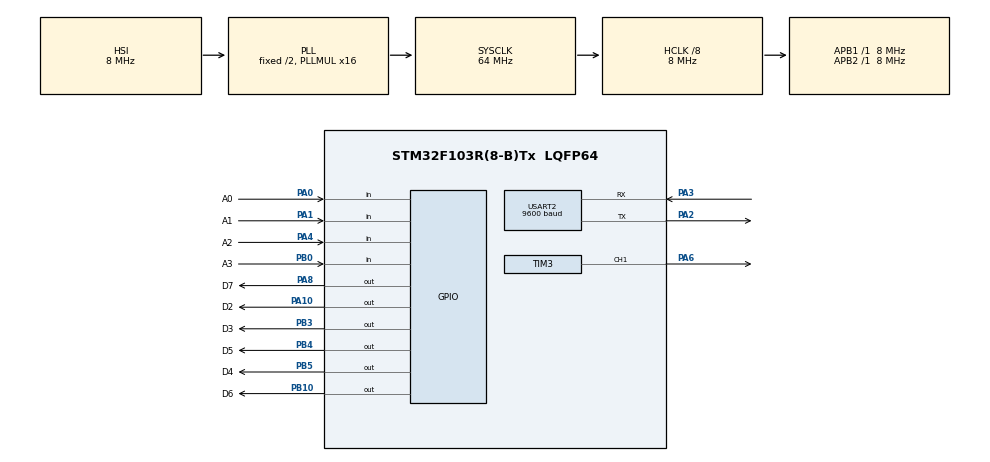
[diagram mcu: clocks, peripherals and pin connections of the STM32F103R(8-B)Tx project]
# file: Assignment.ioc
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Mcu.Family=STM32F1
Mcu.Name=STM32F103R(8-B)Tx
Mcu.Package=LQFP64
NVIC.PriorityGroup=NVIC_PRIORITYGROUP_4
NVIC.TIM1_UP_IRQn=true\:15\:0\:false\:false\:true\:false\:true
NVIC.TIM2_IRQn=true\:0\:0\:false\:false\:true\:true\:true
NVIC.TimeBase=TIM1_UP_IRQn
NVIC.TimeBaseIP=TIM1
PA0-WKUP.GPIO_Label=A0
PA0-WKUP.GPIO_PuPd=GPIO_PULLUP
PA0-WKUP.Signal=GPIO_Input
PA1.GPIO_Label=A1
PA1.GPIO_PuPd=GPIO_PULLUP
PA1.Signal=GPIO_Input
PA10.GPIO_Label=D2
PA10.Signal=GPIO_Output
PA13.Mode=Serial_Wire
PA13.Signal=SYS_JTMS-SWDIO
PA14.Mode=Serial_Wire
PA14.Signal=SYS_JTCK-SWCLK
PA2.Mode=Asynchronous
PA2.Signal=USART2_TX
PA3.Mode=Asynchronous
PA3.Signal=USART2_RX
PA4.GPIO_Label=A2
PA4.GPIO_PuPd=GPIO_PULLUP
PA4.Signal=GPIO_Input
PA6.Signal=S_TIM3_CH1
PA8.GPIO_Label=D7
PA8.Signal=GPIO_Output
PB0.GPIO_Label=A3
PB0.GPIO_PuPd=GPIO_PULLUP
PB0.Signal=GPIO_Input
PB10.GPIO_Label=D6
PB10.Signal=GPIO_Output
PB3.GPIO_Label=D3
PB3.Signal=GPIO_Output
PB4.GPIO_Label=D5
PB4.Signal=GPIO_Output
PB5.GPIO_Label=D4
PB5.Signal=GPIO_Output
ProjectManager.HeapSize=0x200
ProjectManager.StackSize=0x400
ProjectManager.TargetToolchain=STM32CubeIDE
RCC.AHBCLKDivider=RCC_SYSCLK_DIV8
RCC.AHBFreq_Value=8000000
RCC.APB1Freq_Value=8000000
RCC.APB1TimFreq_Value=8000000
RCC.APB2Freq_Value=8000000
RCC.APB2TimFreq_Value=8000000
RCC.HCLKFreq_Value=8000000
RCC.PLLMUL=RCC_PLL_MUL16
RCC.SYSCLKFreq_VALUE=64000000
RCC.SYSCLKSource=RCC_SYSCLKSOURCE_PLLCLK
RCC.USBFreq_Value=64000000
SH.S_TIM3_CH1.0=TIM3_CH1,PWM Generation1 CH1
TIM2.Period=9
TIM2.Prescaler=7999
TIM3.Channel-PWM\ Generation1\ CH1=TIM_CHANNEL_1
TIM3.Period=100
TIM3.Prescaler=119
USART2.BaudRate=9600
USART2.VirtualMode=VM_ASYNC
VP_SYS_VS_tim1.Mode=TIM1
VP_TIM2_VS_ClockSourceINT.Mode=Internal
VP_TIM3_VS_ClockSourceINT.Mode=Internal
board=custom

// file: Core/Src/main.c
/* USER CODE BEGIN Header */
/**
  ******************************************************************************
  * @file           : main.c
  * @brief          : Main program body
  ******************************************************************************
  * @attention
  *
  * <h2><center>&copy; Copyright (c) 2023 STMicroelectronics.
  * All rights reserved.</center></h2>
  *
  * This software component is licensed by ST under BSD 3-Clause license,
  * the "License"; You may not use this file except in compliance with the
  * License. You may obtain a copy of the License at:
  *                        opensource.org/licenses/BSD-3-Clause
  *
  ******************************************************************************
  */
/* USER CODE END Header */
#include "main.h"

/* USER CODE BEGIN Includes */
#include "global.h"
/* USER CODE END Includes */

TIM_HandleTypeDef htim2;
TIM_HandleTypeDef htim3;

UART_HandleTypeDef huart2;

void SystemClock_Config(void);
static void MX_GPIO_Init(void);
static void MX_TIM2_Init(void);
static void MX_TIM3_Init(void);
static void MX_USART2_UART_Init(void);

/* USER CODE BEGIN 0 */
void wrapper(void) {
  timerRun(0); // led duration
  timerRun(1); //  7-segment counter 1s
  timerRun(3); // blinking led
  timerRun(8);
  timerRun(9);
  getKeyInput(0);
  getKeyInput(1);
  getKeyInput(2);
  getKeyInput(3);
}
void HAL_TIM_PeriodElapsedCallback(TIM_HandleTypeDef *htim)
{
  /* USER CODE BEGIN Callback 0 */
//////
  /* USER CODE END Callback 0 */
  if (htim->Instance == TIM1) {
    HAL_IncTick();
  }
  if (htim->Instance == TIM2) {
    SCH_Update();
//    timerRun(0); // led duration
//    timerRun(1); //  7-segment counter 1s
//    timerRun(3); // blinking led
//    timerRun(9); // blinking led
//    getKeyInput(0);
//    getKeyInput(1);
//    getKeyInput(2);
//    getKeyInput(3);
  }
  /* USER CODE BEGIN Callback 1 */
//////
  /* USER CODE END Callback 1 */
}
/* USER CODE END 0 */

int main(void)
{

  /* MCU Configuration--------------------------------------------------------*/

  /* Reset of all peripherals, Initializes the Flash interface and the Systick. */
  HAL_Init();

  /* Configure the system clock */
  SystemClock_Config();

  /* Initialize all configured peripherals */
  MX_GPIO_Init();
  MX_TIM2_Init();
  MX_TIM3_Init();
  MX_USART2_UART_Init();
  /* USER CODE BEGIN 2 */
  HAL_TIM_Base_Start_IT(&htim2);
  SCH_Add_Task(wrapper, 0, 1);
  SCH_Add_Task(fsm_automatic_run, 0, 1);
  SCH_Add_Task(fsm_manual_run, 0, 1);
  /* USER CODE END 2 */

  /* Infinite loop */
  /* USER CODE BEGIN WHILE */
  status = INIT ;
  while (1)
  {
    /* USER CODE END WHILE */

    /* USER CODE BEGIN 3 */
//    fsm_automatic_run();
//    fsm_manual_run();
    SCH_Dispatch_Tasks();
  }
  /* USER CODE END 3 */
}

void SystemClock_Config(void)
{
  RCC_OscInitTypeDef RCC_OscInitStruct = {0};
  RCC_ClkInitTypeDef RCC_ClkInitStruct = {0};

  /** Initializes the RCC Oscillators according to the specified parameters
  * in the RCC_OscInitTypeDef structure.
  */
  RCC_OscInitStruct.OscillatorType = RCC_OSCILLATORTYPE_HSI;
  RCC_OscInitStruct.HSIState = RCC_HSI_ON;
  RCC_OscInitStruct.HSICalibrationValue = RCC_HSICALIBRATION_DEFAULT;
  RCC_OscInitStruct.PLL.PLLState = RCC_PLL_ON;
  RCC_OscInitStruct.PLL.PLLSource = RCC_PLLSOURCE_HSI_DIV2;
  RCC_OscInitStruct.PLL.PLLMUL = RCC_PLL_MUL16;
  if (HAL_RCC_OscConfig(&RCC_OscInitStruct) != HAL_OK)
  {
    Error_Handler();
  }
  /** Initializes the CPU, AHB and APB buses clocks
  */
  RCC_ClkInitStruct.ClockType = RCC_CLOCKTYPE_HCLK|RCC_CLOCKTYPE_SYSCLK
                              |RCC_CLOCKTYPE_PCLK1|RCC_CLOCKTYPE_PCLK2;
  RCC_ClkInitStruct.SYSCLKSource = RCC_SYSCLKSOURCE_PLLCLK;
  RCC_ClkInitStruct.AHBCLKDivider = RCC_SYSCLK_DIV8;
  RCC_ClkInitStruct.APB1CLKDivider = RCC_HCLK_DIV1;
  RCC_ClkInitStruct.APB2CLKDivider = RCC_HCLK_DIV1;

  if (HAL_RCC_ClockConfig(&RCC_ClkInitStruct, FLASH_LATENCY_2) != HAL_OK)
  {
    Error_Handler();
  }
}

static void MX_TIM2_Init(void)
{

  TIM_ClockConfigTypeDef sClockSourceConfig = {0};
  TIM_MasterConfigTypeDef sMasterConfig = {0};

  htim2.Instance = TIM2;
  htim2.Init.Prescaler = 7999;
  htim2.Init.CounterMode = TIM_COUNTERMODE_UP;
  htim2.Init.Period = 9;
  htim2.Init.ClockDivision = TIM_CLOCKDIVISION_DIV1;
  htim2.Init.AutoReloadPreload = TIM_AUTORELOAD_PRELOAD_DISABLE;
  if (HAL_TIM_Base_Init(&htim2) != HAL_OK)
  {
    Error_Handler();
  }
  sClockSourceConfig.ClockSource = TIM_CLOCKSOURCE_INTERNAL;
  if (HAL_TIM_ConfigClockSource(&htim2, &sClockSourceConfig) != HAL_OK)
  {
    Error_Handler();
  }
  sMasterConfig.MasterOutputTrigger = TIM_TRGO_RESET;
  sMasterConfig.MasterSlaveMode = TIM_MASTERSLAVEMODE_DISABLE;
  if (HAL_TIMEx_MasterConfigSynchronization(&htim2, &sMasterConfig) != HAL_OK)
  {
    Error_Handler();
  }

}

static void MX_TIM3_Init(void)
{

  TIM_ClockConfigTypeDef sClockSourceConfig = {0};
  TIM_MasterConfigTypeDef sMasterConfig = {0};
  TIM_OC_InitTypeDef sConfigOC = {0};

  htim3.Instance = TIM3;
  htim3.Init.Prescaler = 119;
  htim3.Init.CounterMode = TIM_COUNTERMODE_UP;
  htim3.Init.Period = 100;
  htim3.Init.ClockDivision = TIM_CLOCKDIVISION_DIV1;
  htim3.Init.AutoReloadPreload = TIM_AUTORELOAD_PRELOAD_DISABLE;
  if (HAL_TIM_Base_Init(&htim3) != HAL_OK)
  {
    Error_Handler();
  }
  sClockSourceConfig.ClockSource = TIM_CLOCKSOURCE_INTERNAL;
  if (HAL_TIM_ConfigClockSource(&htim3, &sClockSourceConfig) != HAL_OK)
  {
    Error_Handler();
  }
  if (HAL_TIM_PWM_Init(&htim3) != HAL_OK)
  {
    Error_Handler();
  }
  sMasterConfig.MasterOutputTrigger = TIM_TRGO_RESET;
  sMasterConfig.MasterSlaveMode = TIM_MASTERSLAVEMODE_DISABLE;
  if (HAL_TIMEx_MasterConfigSynchronization(&htim3, &sMasterConfig) != HAL_OK)
  {
    Error_Handler();
  }
  sConfigOC.OCMode = TIM_OCMODE_PWM1;
  sConfigOC.Pulse = 0;
  sConfigOC.OCPolarity = TIM_OCPOLARITY_HIGH;
  sConfigOC.OCFastMode = TIM_OCFAST_DISABLE;
  if (HAL_TIM_PWM_ConfigChannel(&htim3, &sConfigOC, TIM_CHANNEL_1) != HAL_OK)
  {
    Error_Handler();
  }
  HAL_TIM_MspPostInit(&htim3);

}

static void MX_USART2_UART_Init(void)
{

  huart2.Instance = USART2;
  huart2.Init.BaudRate = 9600;
  huart2.Init.WordLength = UART_WORDLENGTH_8B;
  huart2.Init.StopBits = UART_STOPBITS_1;
  huart2.Init.Parity = UART_PARITY_NONE;
  huart2.Init.Mode = UART_MODE_TX_RX;
  huart2.Init.HwFlowCtl = UART_HWCONTROL_NONE;
  huart2.Init.OverSampling = UART_OVERSAMPLING_16;
  if (HAL_UART_Init(&huart2) != HAL_OK)
  {
    Error_Handler();
  }

}

static void MX_GPIO_Init(void)
{
  GPIO_InitTypeDef GPIO_InitStruct = {0};

  /* GPIO Ports Clock Enable */
  __HAL_RCC_GPIOA_CLK_ENABLE();
  __HAL_RCC_GPIOB_CLK_ENABLE();

  /*Configure GPIO pin Output Level */
  HAL_GPIO_WritePin(GPIOB, D6_Pin|D3_Pin|D5_Pin|D4_Pin, GPIO_PIN_RESET);

  /*Configure GPIO pin Output Level */
  HAL_GPIO_WritePin(GPIOA, D7_Pin|D2_Pin, GPIO_PIN_RESET);

  /*Configure GPIO pins : A0_Pin A1_Pin A2_Pin */
  GPIO_InitStruct.Pin = A0_Pin|A1_Pin|A2_Pin;
  GPIO_InitStruct.Mode = GPIO_MODE_INPUT;
  GPIO_InitStruct.Pull = GPIO_PULLUP;
  HAL_GPIO_Init(GPIOA, &GPIO_InitStruct);

  /*Configure GPIO pin : A3_Pin */
  GPIO_InitStruct.Pin = A3_Pin;
  GPIO_InitStruct.Mode = GPIO_MODE_INPUT;
  GPIO_InitStruct.Pull = GPIO_PULLUP;
  HAL_GPIO_Init(A3_GPIO_Port, &GPIO_InitStruct);

  /*Configure GPIO pins : D6_Pin D3_Pin D5_Pin D4_Pin */
  GPIO_InitStruct.Pin = D6_Pin|D3_Pin|D5_Pin|D4_Pin;
  GPIO_InitStruct.Mode = GPIO_MODE_OUTPUT_PP;
  GPIO_InitStruct.Pull = GPIO_NOPULL;
  GPIO_InitStruct.Speed = GPIO_SPEED_FREQ_LOW;
  HAL_GPIO_Init(GPIOB, &GPIO_InitStruct);

  /*Configure GPIO pins : D7_Pin D2_Pin */
  GPIO_InitStruct.Pin = D7_Pin|D2_Pin;
  GPIO_InitStruct.Mode = GPIO_MODE_OUTPUT_PP;
  GPIO_InitStruct.Pull = GPIO_NOPULL;
  GPIO_InitStruct.Speed = GPIO_SPEED_FREQ_LOW;
  HAL_GPIO_Init(GPIOA, &GPIO_InitStruct);

}

void Error_Handler(void)
{
  __disable_irq();
  while (1)
  {
  }
}

/************************ (C) COPYRIGHT STMicroelectronics *****END OF FILE****/
